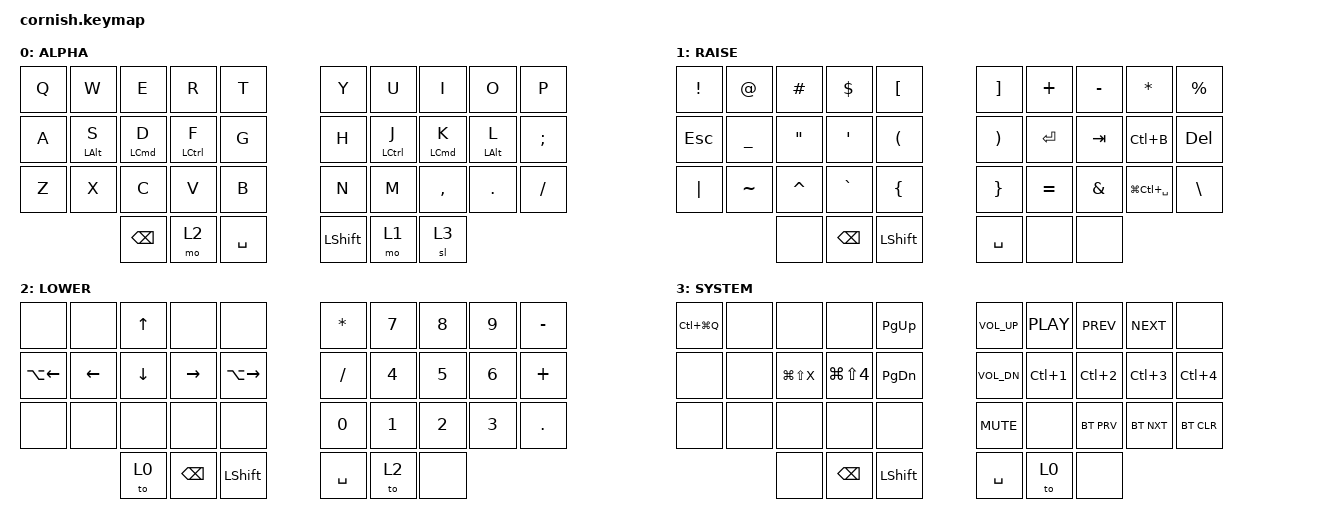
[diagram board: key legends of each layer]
#include <behaviors.dtsi>
#include <dt-bindings/zmk/keys.h>
#include <dt-bindings/zmk/bt.h>
#include <dt-bindings/zmk/outputs.h>

#define L0 0
#define L1 1
#define L2 2
#define L3 3

#define KEYS_L 0 1 2 3 4 5 12 13 14 15 16 17 24 25 26 27 28 29 36 37 38
#define KEYS_R 6 7 8 9 10 11 18 19 20 21 22 23 30 31 32 33 34 35 39 40 41

/ {
  behaviors {
    /**
     * Left hand positional hold tap, used for home block modifiers
     */
    lhr: left_hand_positional_hold_tap {
        compatible = "zmk,behavior-hold-tap";
        label = "LEFT_POSITIONAL_HOLD_TAP";
        #binding-cells = <2>;
        flavor = "balanced";
        tapping-term-ms = <300>;
        quick-tap-ms = <200>;
        global-quick-tap;
        bindings = <&kp>, <&kp>;
        hold-trigger-key-positions = <KEYS_R>;
        hold-trigger-on-release;
    };

    /**
     * Right hand positional hold tap, used for home block modifiers
     */
    rhr: right_hand_positional_hold_tap {
        compatible = "zmk,behavior-hold-tap";
        label = "RIGHT_POSITIONAL_HOLD_TAP";
        #binding-cells = <2>;
        flavor = "balanced";
        tapping-term-ms = <300>;
        quick-tap-ms = <200>;
        global-quick-tap;
        bindings = <&kp>, <&kp>;
        hold-trigger-key-positions = <KEYS_L>;
        hold-trigger-on-release;
    };
  };

  keymap {
    compatible = "zmk,keymap";

    /**
     * Alpha layer (L0)
     */
    layer_0 {
      label = "ALPHA";
      bindings = <
        &kp Q &kp W       &kp E       &kp R        &kp T       &kp Y &kp U        &kp I       &kp O       &kp P
        &kp A &lhr LALT S &lhr LCMD D &lhr LCTRL F &kp G       &kp H &rhr LCTRL J &rhr LCMD K &rhr LALT L &kp SEMI
        &kp Z &kp X       &kp C       &kp V        &kp B       &kp N &kp M        &kp COMMA   &kp DOT     &kp SLASH
                                &kp BSPC    &mo L2       &kp SPACE   &kp LSHIFT          &mo L1      &sl L3
      >;
    };

    /**
     * Symbols layer (L1)
     */
    layer_1 {
      label = "RAISE";
      bindings = <
        &kp EXCL &kp AT    &kp HASH  &kp DOLLAR &kp LBKT   &kp RBKT  &kp PLUS  &kp MINUS &kp ASTRK         &kp PRCNT
        &kp ESC &kp UNDER &kp DQT   &kp SQT    &kp LPAR   &kp RPAR  &kp ENTER &kp TAB   &kp LC(B)         &kp DEL
        &kp PIPE &kp TILDE &kp CARET &kp GRAVE  &kp LBRC   &kp RBRC  &kp EQUAL &kp AMPS   &kp LG(LC(SPACE)) &kp BSLH
                                 &none     &kp BSPC   &kp LSHFT  &kp SPACE &none     &none
      >;
    };

    /**
     * Number and directions layer (L2)
     */
    layer_2 {
      label = "LOWER";
      bindings = <
        &none        &none    &kp UP   &none     &none          &kp ASTRK  &kp N7 &kp N8 &kp N9 &kp MINUS
        &kp LA(LEFT) &kp LEFT &kp DOWN &kp RIGHT &kp LA(RIGHT)  &kp SLASH  &kp N4 &kp N5 &kp N6 &kp PLUS
        &none        &none    &none    &none     &none          &kp N0     &kp N1 &kp N2 &kp N3 &kp DOT
                                    &to L0   &kp BSPC  &kp LSHFT      &kp SPACE  &to L2 &none
      >;
    };

    /**
     * Controls layer that contains OS controls (bluetooth, mute, play, etc.) (L3)
     */
    layer_3 {
      label = "SYSTEM";
      bindings = <
        &kp LC(LG(Q)) &none &none         &none          &kp PG_UP  &kp C_VOL_UP &kp C_PLAY &kp C_PREV &kp C_NEXT &none
        &none         &none &kp LG(LS(X)) &kp LG(LS(N4)) &kp PG_DN  &kp C_VOL_DN &kp LC(N1) &kp LC(N2) &kp LC(N3) &kp LC(N4)
        &none         &none &none         &none          &none      &kp C_MUTE   &none      &bt BT_PRV &bt BT_NXT &bt BT_CLR
                            &none &kp BSPC      &kp LSHFT      &kp SPACE  &to L0       &none
      >;
    };
  };
};
